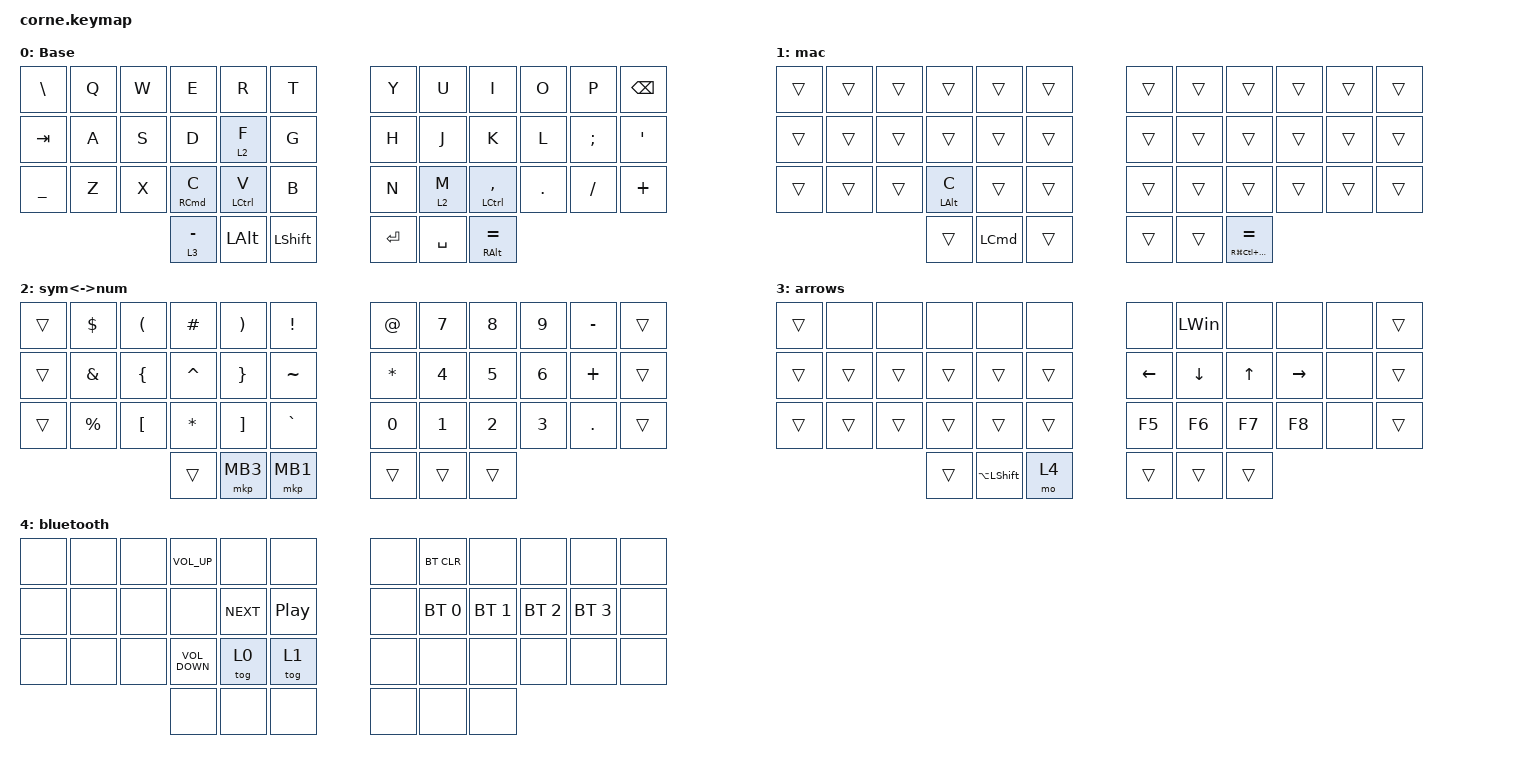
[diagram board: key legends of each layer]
/*
 * Copyright (c) 2020 The ZMK Contributors
 *
 * SPDX-License-Identifier: MIT
 */

#include <dt-bindings/zmk/mouse.h>
#include <behaviors.dtsi>
#include <dt-bindings/zmk/bt.h>
#include <dt-bindings/zmk/keys.h>
#include <dt-bindings/zmk/pointing.h>

/ {
    behaviors {
        faster_mt: faster_mt {
            compatible = "zmk,behavior-hold-tap";
            label = "FASTER_MT";
            bindings = <&kp>, <&kp>;

            #binding-cells = <2>;
            tapping-term-ms = <200>;
            flavor = "balanced";
        };

        faster_lt: faster_lt {
            compatible = "zmk,behavior-hold-tap";
            label = "FASTER_LT";
            bindings = <&mo>, <&kp>;

            #binding-cells = <2>;
            tapping-term-ms = <200>;
            flavor = "balanced";
        };
    };

    keymap {
        compatible = "zmk,keymap";

        main {
            // -----------------------------------------------------------------------------------------
            // |  TAB |  Q  |  W  |  E  |  R  |  T  |   |  Y  |  U   |  I  |  O  |  P  | BKSP |
            // | CTRL |  A  |  S  |  D  |  F  |  G  |   |  H  |  J   |  K  |  L  |  ;  |  '   |
            // | SHFT |  Z  |  X  |  C  |  V  |  B  |   |  N  |  M   |  ,  |  .  |  /  | ESC  |
            //                    | GUI | LWR | SPC |   | ENT | RSE  | ALT |

            display-name = "Base";
            bindings = <
&kp BACKSLASH   &kp Q  &kp W  &kp E                       &kp R               &kp T             &kp Y    &kp U           &kp I                       &kp O    &kp P     &kp BSPC
&kp TAB         &kp A  &kp S  &kp D                       &faster_lt 2 F      &kp G             &kp H    &kp J           &kp K                       &kp L    &kp SEMI  &kp SQT
&kp UNDERSCORE  &kp Z  &kp X  &faster_mt RIGHT_COMMAND C  &faster_mt LCTRL V  &kp B             &kp N    &faster_lt 2 M  &faster_mt LCTRL COMMA      &kp DOT  &kp FSLH  &kp PLUS
                              &faster_lt 3 MINUS          &kp LEFT_ALT        &kp LEFT_SHIFT    &kp RET  &kp SPACE       &faster_mt RIGHT_ALT EQUAL
            >;
        };

        mac {
            bindings = <
&trans  &trans  &trans  &trans                 &trans            &trans    &trans  &trans  &trans                                      &trans  &trans  &trans
&trans  &trans  &trans  &trans                 &trans            &trans    &trans  &trans  &trans                                      &trans  &trans  &trans
&trans  &trans  &trans  &faster_mt LEFT_ALT C  &trans            &trans    &trans  &trans  &trans                                      &trans  &trans  &trans
                        &trans                 &kp LEFT_COMMAND  &trans    &trans  &trans  &faster_mt RG(LC(LA(RIGHT_COMMAND))) EQUAL
            >;
        };

        symbols {
            // -----------------------------------------------------------------------------------------
            // |  TAB |  1  |  2  |  3  |  4  |  5  |   |  6  |  7  |  8  |  9  |  0  | BKSP |
            // | BTCLR| BT1 | BT2 | BT3 | BT4 | BT5 |   | LFT | DWN |  UP | RGT |     |      |
            // | SHFT |     |     |     |     |     |   |     |     |     |     |     |      |
            //                    | GUI |     | SPC |   | ENT |     | ALT |

            display-name = "sym<->num";
            bindings = <
&trans  &kp DOLLAR     &kp LEFT_PARENTHESIS  &kp HASH      &kp RIGHT_PARENTHESIS  &kp EXCLAMATION    &kp AT        &kp N7        &kp N8        &kp N9        &kp MINUS   &trans
&trans  &kp AMPERSAND  &kp LEFT_BRACE        &kp CARET     &kp RIGHT_BRACE        &kp TILDE          &kp ASTERISK  &kp NUMBER_4  &kp N5        &kp NUMBER_6  &kp PLUS    &trans
&trans  &kp PERCENT    &kp LEFT_BRACKET      &kp ASTERISK  &kp RIGHT_BRACKET      &kp GRAVE          &kp N0        &kp NUMBER_1  &kp NUMBER_2  &kp NUMBER_3  &kp PERIOD  &trans
                                             &trans        &mkp MB3               &mkp MB1           &trans        &trans        &trans
            >;
        };

        arrows {
            // -----------------------------------------------------------------------------------------
            // |  TAB |  !  |  @  |  #  |  $  |  %  |   |  ^  |  &  |  *  |  (  |  )  | BKSP |
            // | CTRL |     |     |     |     |     |   |  -  |  =  |  [  |  ]  |  \  |  `   |
            // | SHFT |     |     |     |     |     |   |  _  |  +  |  {  |  }  | "|" |  ~   |
            //                    | GUI |     | SPC |   | ENT |     | ALT |

            display-name = "arrows";
            bindings = <
&trans  &none   &none   &none   &none               &none     &none           &kp LEFT_WIN  &none         &none            &none  &trans
&trans  &trans  &trans  &trans  &trans              &trans    &kp LEFT_ARROW  &kp DOWN      &kp UP_ARROW  &kp RIGHT_ARROW  &none  &trans
&trans  &trans  &trans  &trans  &trans              &trans    &kp F5          &kp F6        &kp F7        &kp F8           &none  &trans
                        &trans  &kp LA(LEFT_SHIFT)  &mo 4     &trans          &trans        &trans
            >;
        };

        bluetooth {
            bindings = <
&none  &none  &none  &kp C_VOLUME_UP    &none       &none       &none  &bt BT_CLR    &none         &none         &none         &none
&none  &none  &none  &none              &kp C_NEXT  &kp C_PP    &none  &bt BT_SEL 0  &bt BT_SEL 1  &bt BT_SEL 2  &bt BT_SEL 3  &none
&none  &none  &none  &kp C_VOLUME_DOWN  &tog 0      &tog 1      &none  &none         &none         &none         &none         &none
                     &none              &none       &none       &none  &none         &none
            >;

            label = "bluetooth";
        };
    };
};
